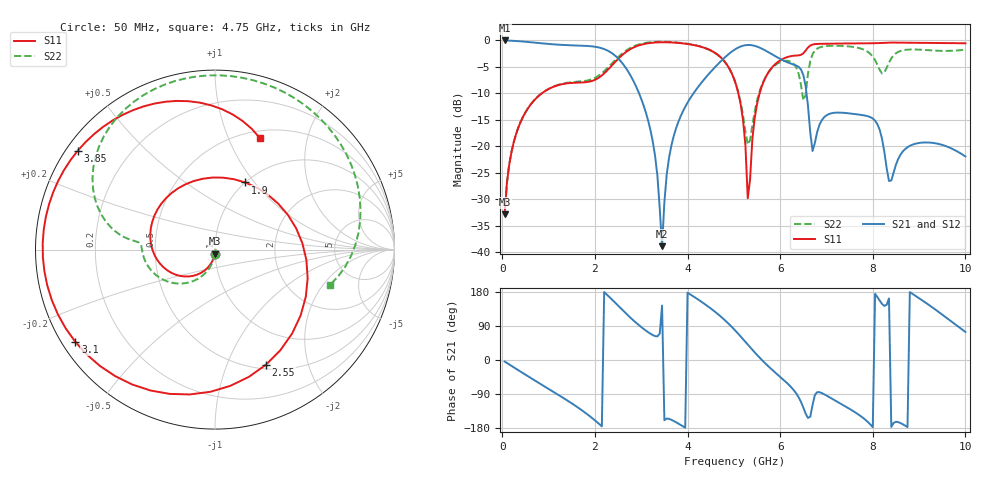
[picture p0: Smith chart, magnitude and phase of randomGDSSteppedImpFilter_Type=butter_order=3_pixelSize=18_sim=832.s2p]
! freq	dB(S11)	phase(S11)	dB(S12)	phase(S12)
!  dB(S21)	phase(S21)	dB(S22)	phase(S22)
!S-par simulation data
#  GHz  S  DB  R 50
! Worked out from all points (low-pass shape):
!   200 points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, 50 MHz to 10 GHz, reference 50 ohm
!   highest |S21| = -0.01 dB at 50 MHz (marker M1); lowest = -38.8 dB at 3.45 GHz (marker M2)
!   |S21| within 3 dB of the highest: start of sweep to 2.454 GHz; 4.831 GHz to 5.901 GHz (1.07 GHz wide, 19.9 % of centre)
!   lowest |S11| = -32.8 dB at 50 MHz (marker M3), VSWR 1.05, Z = 49.8 - j2.26 ohm
!   |S11| at or under -10 dB: start of sweep to 852.7 MHz; 5.098 GHz to 5.557 GHz (458.7 MHz wide, 8.61 % of centre)
!   |S22| runs from -32.8 to -0.3 dB; largest |S21 - S12| = 0
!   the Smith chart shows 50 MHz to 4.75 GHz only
!   S11 on the Smith chart (normalised r, x): 50 MHz: 1.00, -0.05; 1.9 GHz: 1.00, +0.90; 2.55 GHz: 0.55, -1.39; 3.1 GHz: 0.04, -0.30; 3.85 GHz: 0.03, +0.32; 4.75 GHz: 0.58, +1.31
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0.05  -32.85 -94.2  -0.01 -4.0  -0.01 -4.0  -32.83 -93.2
0.5  -13.58 -134.4  -0.25 -38.8  -0.25 -38.8  -13.56 -124.1
1.75  -7.92 91.9  -1.00 -135.4  -1.00 -135.4  -7.69 176.5
1.9  -7.74 65.7  -1.09 -149.3  -1.09 -149.3  -7.42 174.7
2.55  -3.08 -66.2  -3.86 137.4  -3.86 137.4  -2.76 156.9
3.1  -0.61 -146.6  -13.61 77.6  -13.61 77.6  -0.46 114.7
3.4  -0.36 -177.5  -31.76 69.8  -31.76 69.8  -0.25 91.9
3.45  -0.35 177.9  -38.83 143.8  -38.83 143.8  -0.25 88.2
3.85  -0.51 144.2  -14.34 -171.2  -14.34 -171.2  -0.46 58.8
4.75  -3.48 68.1  -3.67 111.2  -3.67 111.2  -3.50 -17.3
5.05  -8.45 35.1  -1.57 75.2  -1.57 75.2  -8.36 -47.3
5.3  -29.78 32.8  -0.86 40.8  -0.86 40.8  -19.64 -19.1
5.6  -8.76 140.8  -1.54 0.7  -1.54 0.7  -8.50 24.7
6.5  -2.44 78.7  -6.51 -125.4  -6.51 -125.4  -11.31 -173.4
6.7  -0.78 65.3  -20.88 -118.7  -20.88 -118.7  -2.59 11.4
7.3  -0.59 30.7  -13.63 -114.8  -13.63 -114.8  -1.03 -80.3
7.95  -0.54 3.6  -14.49 -170.5  -14.49 -170.5  -2.56 -170.0
8.15  -0.49 -3.6  -16.89 156.7  -16.89 156.7  -5.58 107.1
8.35  -0.41 -11.1  -26.53 162.5  -26.53 162.5  -4.19 -28.8
8.6  -0.42 -20.2  -21.54 -166.4  -21.54 -166.4  -1.99 -104.4
9.1  -0.47 -36.6  -19.26 154.8  -19.26 154.8  -1.79 178.4
10  -0.54 -63.2  -21.89 74.0  -21.89 74.0  -1.76 47.2
